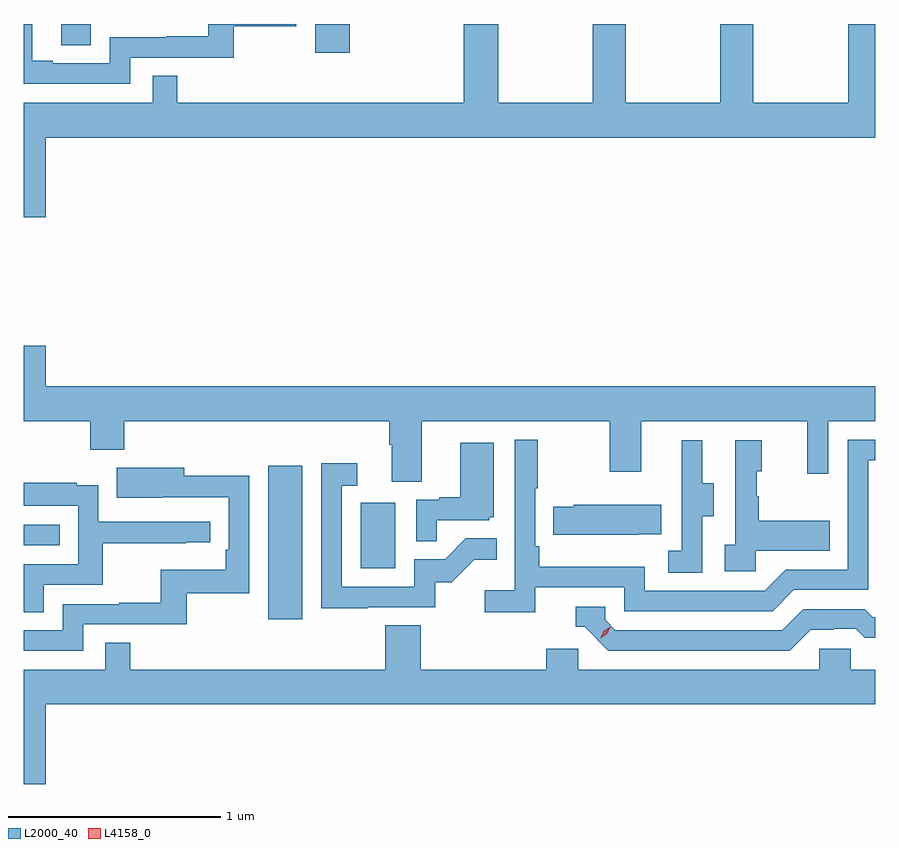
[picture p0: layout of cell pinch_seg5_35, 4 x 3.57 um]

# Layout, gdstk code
import gdstk
lib = gdstk.Library(unit=1e-6, precision=1e-09)
def R(c, l, rs):  # rectangles x0, y0, x1, y1
    for r in rs: c.add(gdstk.rectangle(r[:2], r[2:], *l))
def P(c, l, *ps):  # polygons
    for p in ps: c.add(gdstk.Polygon(p, *l))
L2000_40 = (2000, 40)
L4158_0 = (4158, 0)

pinch_seg5_35 = lib.new_cell('pinch_seg5_35')
R(pinch_seg5_35, L2000_40, [(1089.293,903.78,1089.454,904.501), (1089.728,904.02,1089.892,904.327), (1088.146,904.128,1088.315,904.224), (1089.515,906.444,1089.676,906.578), (1088.321,906.478,1088.461,906.578)])
P(pinch_seg5_35, L2000_40, [(1088.248,906.044),(1092.146,906.044),(1092.146,906.578),(1092.019,906.578),(1092.019,906.208),(1091.574,906.208),(1091.574,906.578),(1091.419,906.578),(1091.419,906.208),(1090.974,906.208),(1090.974,906.578),(1090.819,906.578),(1090.819,906.208),(1090.374,906.208),(1090.374,906.578),(1090.214,906.578),(1090.214,906.208),(1088.867,906.208),(1088.867,906.335),(1088.751,906.335),(1088.751,906.208),(1088.146,906.208),(1088.146,905.67),(1088.248,905.67)],
  [(1088.646,906.42),(1089.133,906.42),(1089.133,906.567),(1089.426,906.567),(1089.426,906.578),(1089.012,906.578),(1089.012,906.521),(1088.815,906.521),(1088.815,906.516),(1088.55,906.516),(1088.55,906.393),(1088.281,906.393),(1088.281,906.406),(1088.185,906.406),(1088.185,906.578),(1088.146,906.578),(1088.146,906.297),(1088.646,906.297)],
  [(1090.015,904.712),(1090.9,904.712),(1090.9,904.473),(1091.047,904.473),(1091.047,904.712),(1091.828,904.712),(1091.828,904.464),(1091.925,904.464),(1091.925,904.712),(1092.146,904.712),(1092.146,904.876),(1088.248,904.876),(1088.248,905.065),(1088.146,905.065),(1088.146,904.712),(1088.458,904.712),(1088.458,904.577),(1088.618,904.577),(1088.618,904.712),(1089.863,904.712),(1089.863,904.6),(1089.875,904.6),(1089.875,904.426),(1090.015,904.426)],
  [(1090.55,903.93),(1090.968,903.93),(1090.968,903.819),(1091.665,903.819),(1091.764,903.918),(1092.114,903.918),(1092.114,904.527),(1092.146,904.527),(1092.146,904.623),(1092.018,904.623),(1092.018,904.014),(1091.727,904.014),(1091.628,903.915),(1091.064,903.915),(1091.064,904.027),(1090.568,904.027),(1090.568,904.123),(1090.548,904.123),(1090.548,904.396),(1090.561,904.396),(1090.561,904.624),(1090.452,904.624),(1090.452,903.916),(1090.311,903.916),(1090.311,903.814),(1090.55,903.814)],
  [(1091.334,904.264),(1091.389,904.264),(1091.389,904.419),(1091.335,904.419),(1091.335,904.621),(1091.237,904.621),(1091.237,904.407),(1091.238,904.407),(1091.238,904.103),(1091.175,904.103),(1091.175,904),(1091.334,904)],
  [(1091.586,904.103),(1091.933,904.103),(1091.933,904.243),(1091.599,904.243),(1091.599,904.358),(1091.589,904.358),(1091.589,904.476),(1091.614,904.476),(1091.614,904.621),(1091.49,904.621),(1091.49,904.13),(1091.439,904.13),(1091.439,904.005),(1091.586,904.005)],
  [(1090.085,904.245),(1090.332,904.245),(1090.332,904.26),(1090.354,904.26),(1090.354,904.609),(1090.196,904.609),(1090.196,904.354),(1090.097,904.354),(1090.097,904.341),(1089.99,904.341),(1089.99,904.147),(1090.085,904.147)],
  [(1089.761,903.837),(1090.08,903.837),(1090.08,903.954),(1090.156,903.954),(1090.263,904.061),(1090.367,904.061),(1090.367,904.16),(1090.223,904.16),(1090.125,904.062),(1089.981,904.062),(1089.981,903.933),(1089.639,903.933),(1089.639,904.407),(1089.712,904.407),(1089.712,904.513),(1089.543,904.513),(1089.543,903.832),(1089.761,903.832)],
  [(1088.424,903.756),(1088.911,903.756),(1088.911,903.903),(1089.204,903.903),(1089.204,904.454),(1088.899,904.454),(1088.899,904.492),(1088.581,904.492),(1088.581,904.352),(1088.795,904.352),(1088.795,904.353),(1089.108,904.353),(1089.108,904.108),(1089.095,904.108),(1089.095,904.012),(1088.79,904.012),(1088.79,903.857),(1088.593,903.857),(1088.593,903.852),(1088.328,903.852),(1088.328,903.729),(1088.146,903.729),(1088.146,903.633),(1088.424,903.633)],
  [(1088.239,903.942),(1088.516,903.942),(1088.516,904.138),(1088.909,904.138),(1088.909,904.143),(1089.022,904.143),(1089.022,904.239),(1088.496,904.239),(1088.496,904.411),(1088.393,904.411),(1088.393,904.423),(1088.146,904.423),(1088.146,904.314),(1088.4,904.314),(1088.4,904.038),(1088.146,904.038),(1088.146,903.814),(1088.239,903.814)],
  [(1091.033,904.181),(1091.141,904.181),(1091.141,904.318),(1090.731,904.318),(1090.731,904.308),(1090.633,904.308),(1090.633,904.178),(1091.033,904.178)],
  [(1091.845,903.732),(1091.952,903.732),(1091.952,903.735),(1092.055,903.735),(1092.097,903.693),(1092.146,903.693),(1092.146,903.789),(1092.136,903.789),(1092.097,903.828),(1091.808,903.828),(1091.709,903.729),(1090.926,903.729),(1090.878,903.777),(1090.878,903.84),(1090.739,903.84),(1090.739,903.744),(1090.782,903.744),(1090.893,903.633),(1091.746,903.633)],
  [(1092.146,903.544),(1092.033,903.544),(1092.033,903.642),(1091.883,903.642),(1091.883,903.544),(1090.752,903.544),(1090.752,903.642),(1090.601,903.642),(1090.601,903.544),(1090.01,903.544),(1090.01,903.752),(1089.845,903.752),(1089.845,903.544),(1088.645,903.544),(1088.645,903.671),(1088.529,903.671),(1088.529,903.544),(1088.146,903.544),(1088.146,903.006),(1088.248,903.006),(1088.248,903.38),(1092.146,903.38)])
P(pinch_seg5_35, L4158_0, [(1090.854,903.691),(1090.854,903.692),(1090.87,903.724),(1090.901,903.744),(1090.901,903.744),(1090.901,903.744),(1090.885,903.711),(1090.854,903.691)])

lib.write_gds('pinch_seg5_35.gds')
